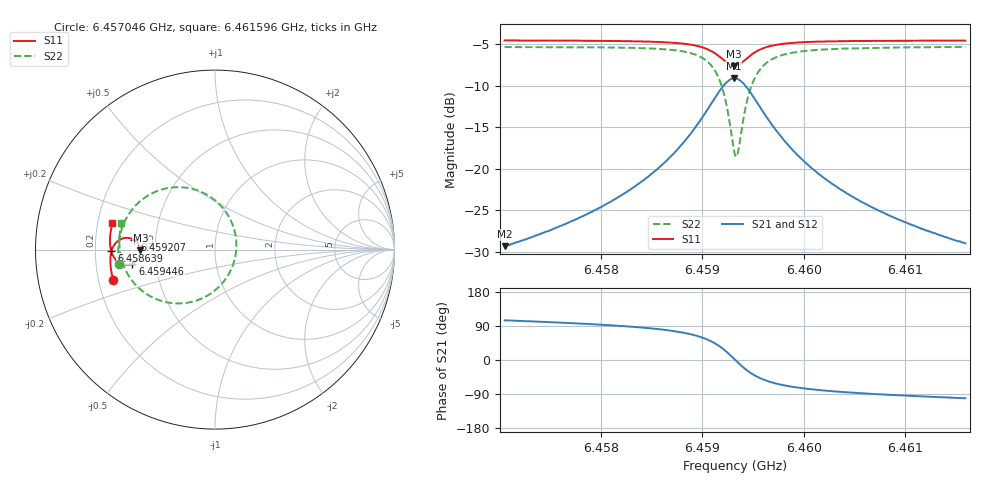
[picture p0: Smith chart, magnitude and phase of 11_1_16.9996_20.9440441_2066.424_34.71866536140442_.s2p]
#  HZ  S  RI  R  50.00
! Rohde & Schwarz Vector Network Analyzer
! Rohde-Schwarz,ZNB20-2Port,1311601062101988,3.16
! Created: UTC 3/20/2024, 10:52:34 PM
! freq[Hz]  re:S11  im:S11  re:S21  im:S21  re:S12  im:S12  re:S22  im:S22
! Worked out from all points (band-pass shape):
!   401 points, 6.457046 GHz to 6.461596 GHz, reference 50 ohm
!   highest |S21| = -9.12 dB at 6.45931 GHz (marker M1); lowest = -29.3 dB at 6.457046 GHz (marker M2)
!   |S21| within 3 dB of the highest: 6.459089 GHz to 6.459543 GHz (454.5 kHz wide, 0.00704 % of centre)
!   lowest |S11| = -7.6 dB at 6.45931 GHz (marker M3), VSWR 2.42, Z = 20.7 - j0.24 ohm
!   |S11| at or under -10 dB: nowhere
!   |S22| runs from -18.6 to -5.3 dB; largest |S21 - S12| = 0.014
!   S11 on the Smith chart (normalised r, x): 6.457046 GHz: 0.26, -0.14; 6.458639 GHz: 0.27, -0.01; 6.459207 GHz: 0.38, +0.05; 6.459446 GHz: 0.37, -0.07; 6.461596 GHz: 0.26, +0.12
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6.4570463e9  -0.5673 -0.1682  -0.00852 0.0331  -0.00698 0.0329  -0.5344 -0.078
6.4578083e9  -0.5808 -0.1015  -0.00517 0.0513  -0.00273 0.0506  -0.5385 0.0122
6.4582064e9  -0.5834 -0.0615  0.000444 0.0695  0.00368 0.0681  -0.5304 0.0754
6.4585703e9  -0.5792 -0.0177  0.0153 0.1003  0.0193 0.0976  -0.5027 0.1579
6.4586386e9  -0.5769 -0.00818  0.0209 0.1088  0.0249 0.1056  -0.4922 0.1781
6.4588319e9  -0.5637 0.0225  0.0484 0.1403  0.0525 0.1353  -0.4404 0.2478
6.4589798e9  -0.5402 0.0488  0.0954 0.171  0.0987 0.1643  -0.3536 0.3122
6.4591162e9  -0.4946 0.0655  0.186 0.186  0.1867 0.1787  -0.1883 0.3475
6.4592072e9  -0.4489 0.0532  0.2777 0.1507  0.2779 0.1449  -0.0186 0.2891
6.4592641e9  -0.4242 0.0261  0.3292 0.0901  0.3311 0.085  0.0793 0.1797
6.4593096e9  -0.4152 -0.0048  0.3492 0.0226  0.3528 0.016  0.1179 0.0538
6.459321e9  -0.4153 -0.013  0.3498 0.00448  0.3537 -0.00278  0.1192 0.0198
6.4593551e9  -0.4206 -0.0368  0.3415 -0.0482  0.3453 -0.0576  0.1022 -0.0799
6.4594006e9  -0.4374 -0.0624  0.3101 -0.1067  0.312 -0.1189  0.0385 -0.1901
6.4594461e9  -0.46 -0.0778  0.2663 -0.146  0.2652 -0.1593  -0.0498 -0.2607
6.459537e9  -0.5036 -0.0833  0.1813 -0.1739  0.1748 -0.1853  -0.2191 -0.2996
6.4596849e9  -0.5468 -0.0622  0.0946 -0.158  0.086 -0.1641  -0.3835 -0.2462
6.4598441e9  -0.5681 -0.0344  0.0503 -0.1297  0.0428 -0.1322  -0.4619 -0.173
6.460083e9  -0.5807 0.00109  0.0217 -0.0979  0.0158 -0.0983  -0.5086 -0.0905
6.4604355e9  -0.5853 0.0429  0.00562 -0.0702  0.00155 -0.0698  -0.5296 -0.00933
6.460845e9  -0.5834 0.0841  -0.0017 -0.0522  -0.00452 -0.0514  -0.5329 0.0565
6.4615956e9  -0.5713 0.1508  -0.00674 -0.0349  -0.00832 -0.0339  -0.5214 0.1455
